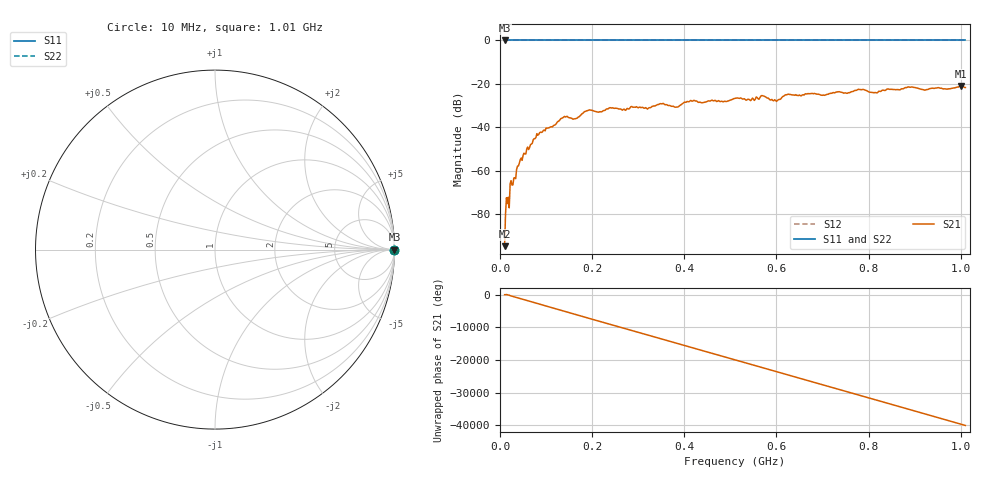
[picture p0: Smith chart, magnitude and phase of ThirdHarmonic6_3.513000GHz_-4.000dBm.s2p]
! 8/17/2025 11:30:07 AM
! C:\ANRITSUVNA\TEMP\TEMP.S2P
! CHANNEL.1
! TR.MEASUREMENT
! RAW.DATA
! RF.CORRECTION.OFF
! AVERAGING.OFF
! IF.BANDWIDTH: 5KHZ
! SWEEPTYPE:  FREQ.SWEEP(Linear)
! Reference Plane Port Info
! PORT:  PORT1  PORT2
! DISTANCE:  0  m  0  m
! TIME:  0  s  0  s
! PHASE.OFFSET:  0  deg.  0  deg.
! LOSS:  0  dB  0  dB
! REF.LOSS:  0  dB  0  dB
! REF.FREQ:  0  Hz  0  Hz
! Power Info
! POWER:  -20  dBm  -20  dBm
! EFF.POWER:  -20  dBm  -20  dBm
! SOURCE.ATTEN:  0  dB  0  dB
! TEST.ATTEN:  0  dB  0  dB
# GHZ S RI R 50.0
! FREQ.GHZ  S11RE  S11IM  S21RE  S21IM  S12RE  S12IM  S22RE  S22IM
!; PortSelection: Port_12
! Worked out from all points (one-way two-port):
!   501 points, 10 MHz to 1.01 GHz, reference 50 ohm
!   highest |S21| = -21.00 dB at 1 GHz (marker M1); lowest = -94.7 dB at 10 MHz (marker M2)
!   lowest |S11| = 0.0 dB at 10 MHz (marker M3)
!   |S11| at or under -10 dB: nowhere
!   |S22| runs from 0.0 to 0.0 dB; largest |S21 - S12| = 1.1
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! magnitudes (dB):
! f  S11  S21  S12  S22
! 10 MHz  0.0  -94.7  0.0  0.0
! 16 MHz  0.0  -75.1  0.0  0.0
! 26 MHz  0.0  -66.6  0.0  0.0
! 30 MHz  0.0  -63.4  0.0  0.0
! 42 MHz  0.0  -56.5  0.0  0.0
! 76 MHz  0.0  -45.2  0.0  0.0
! 136 MHz  0.0  -35.7  0.0  0.0
! 162 MHz  0.0  -36.1  0.0  0.0
! 178 MHz  0.0  -33.8  0.0  0.0
! 194 MHz  0.0  -32.0  0.0  0.0
! 322 MHz  0.0  -31.2  0.0  0.0
! 344 MHz  0.0  -29.5  0.0  0.0
! 382 MHz  0.0  -30.7  0.0  0.0
! 418 MHz  0.0  -28.0  0.0  0.0
! 510 MHz  0.0  -26.7  0.0  0.0
! 570 MHz  0.0  -25.5  0.0  0.0
! 598 MHz  0.0  -27.6  0.0  0.0
! 622 MHz  0.0  -25.0  0.0  0.0
! 678 MHz  0.0  -24.4  0.0  0.0
! 844 MHz  0.0  -22.4  0.0  0.0
! 1 GHz  0.0  -21.0  0.0  0.0
! 1.01 GHz  0.0  -21.7  0.0  0.0
